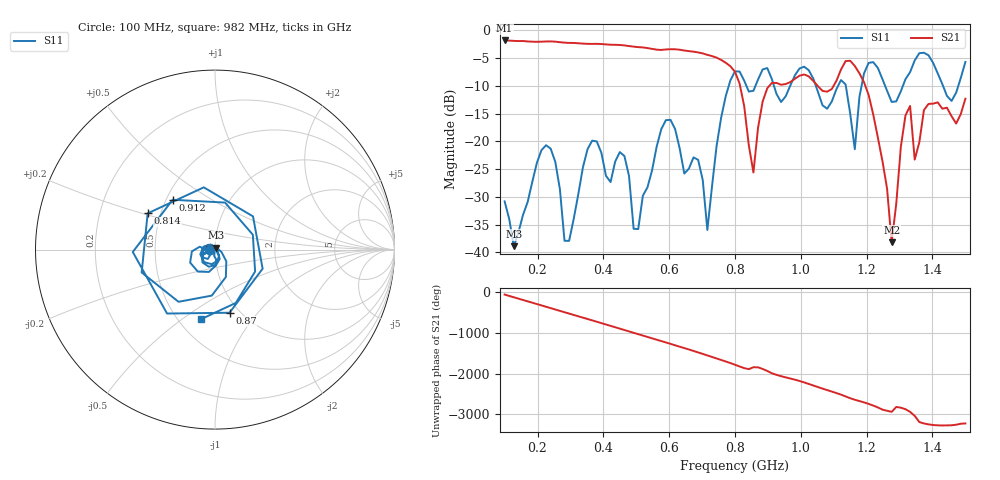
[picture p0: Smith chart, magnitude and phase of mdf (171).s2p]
! NanoVNA-App
! Date: 2025-09-25 15:39:45
! Start: 100MHz Stop: 1,5GHz Points: 101
! S-Parameter data: F S11 S21 S12 S22
# Hz S RI R 50
!  Frequency  S11_Real  S11_Imag  S21_Real  S21_Imag  S12_Real  S12_Imag  S22_Real  S22_Imag
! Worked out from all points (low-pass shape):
!   101 points, 100 MHz to 1.5 GHz, reference 50 ohm
!   highest |S21| = -1.80 dB at 100 MHz (marker M1); lowest = -38.2 dB at 1.276 GHz (marker M2)
!   |S21| within 3 dB of the highest: start of sweep to 739.2 MHz
!   lowest |S11| = -38.9 dB at 128 MHz (marker M3), VSWR 1.02, Z = 50.4 + j1.08 ohm
!   |S11| at or under -10 dB: start of sweep to 781 MHz; 1.046 GHz to 1.113 GHz (67.42 MHz wide, 6.25 % of centre); 1.256 GHz to 1.31 GHz (53.93 MHz wide, 4.2 % of centre) (the widest 3 of 7)
!   S12 and S22 are empty: the file has one direction only
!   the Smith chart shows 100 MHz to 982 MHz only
!   S11 on the Smith chart (normalised r, x): 100 MHz: 0.94, -0.01; 814 MHz: 0.42, +0.21; 870 MHz: 0.90, -0.73; 912 MHz: 0.54, +0.35; 982 MHz: 0.65, -0.59
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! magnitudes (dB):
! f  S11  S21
! 100 MHz  -30.8  -1.8
! 128 MHz  -38.9  -1.9
! 212 MHz  -21.6  -2.0
! 282 MHz  -37.9  -2.2
! 338 MHz  -24.7  -2.4
! 464 MHz  -22.6  -2.7
! 506 MHz  -35.8  -3.0
! 576 MHz  -17.8  -3.5
! 716 MHz  -36.0  -4.4
! 800 MHz  -7.4  -7.5
! 814 MHz  -7.4  -9.6
! 856 MHz  -10.9  -25.6
! 870 MHz  -8.9  -17.5
! 912 MHz  -8.8  -9.5
! 982 MHz  -8.1  -8.7
! 1.038 GHz  -8.7  -9.1
! 1.164 GHz  -21.4  -6.4
! 1.192 GHz  -7.7  -9.3
! 1.276 GHz  -12.9  -38.2
! 1.332 GHz  -7.5  -13.6
! 1.346 GHz  -5.4  -23.3
! 1.5 GHz  -5.7  -12.3
